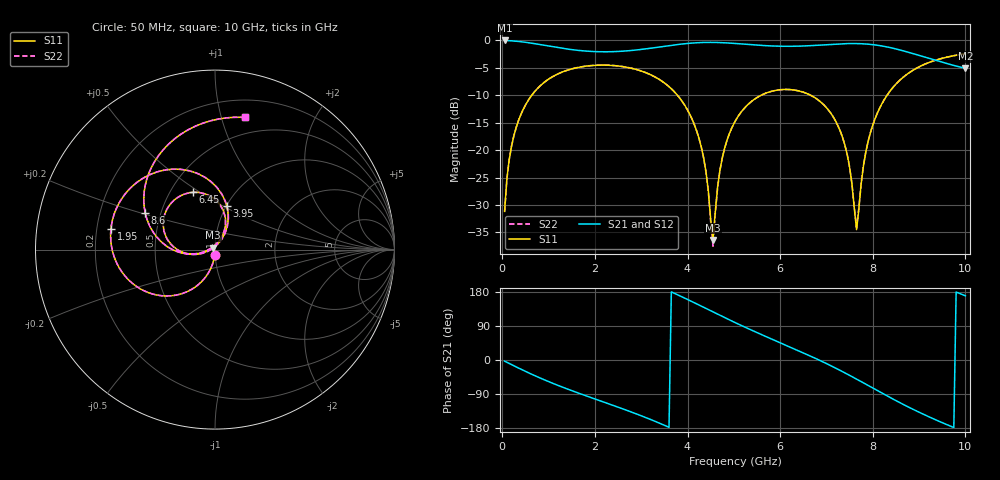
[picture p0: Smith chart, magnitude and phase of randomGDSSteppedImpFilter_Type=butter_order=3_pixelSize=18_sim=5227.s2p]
! freq	dB(S11)	phase(S11)	dB(S12)	phase(S12)
!  dB(S21)	phase(S21)	dB(S22)	phase(S22)
!S-par simulation data
#  GHz  S  DB  R 50
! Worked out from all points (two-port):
!   200 points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, 50 MHz to 10 GHz, reference 50 ohm
!   highest |S21| = -0.01 dB at 50 MHz (marker M1); lowest = -5.1 dB at 10 GHz (marker M2)
!   |S21| within 3 dB of the highest: start of sweep to 9.107 GHz
!   lowest |S11| = -36.4 dB at 4.55 GHz (marker M3), VSWR 1.03, Z = 48.9 + j1.01 ohm
!   |S11| at or under -10 dB: start of sweep to 636.3 MHz; 3.782 GHz to 5.588 GHz (1.806 GHz wide, 38.6 % of centre); 6.659 GHz to 8.309 GHz (1.65 GHz wide, 22 % of centre)
!   |S22| runs from -37.5 to -2.4 dB; largest |S21 - S12| = 0
!   S11 on the Smith chart (normalised r, x): 50 MHz: 1.00, -0.06; 1.95 GHz: 0.26, +0.09; 3.95 GHz: 1.00, +0.52; 6.45 GHz: 0.65, +0.47; 8.6 GHz: 0.41, +0.21; 10 GHz: 0.35, +1.19
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0.05  -31.17 -93.2  -0.01 -3.1  -0.01 -3.1  -31.17 -93.2
0.2  -19.26 -102.7  -0.07 -12.3  -0.07 -12.3  -19.26 -102.8
0.5  -11.79 -120.5  -0.34 -30.0  -0.34 -30.0  -11.79 -120.5
1.75  -4.76 177.6  -1.90 -92.0  -1.90 -92.0  -4.76 177.5
1.95  -4.57 168.9  -2.02 -100.7  -2.02 -100.7  -4.57 168.9
3.4  -7.17 103.7  -1.19 -167.0  -1.19 -167.0  -7.17 103.5
3.95  -11.97 75.1  -0.59 162.7  -0.59 162.7  -11.97 74.7
4.35  -21.51 58.1  -0.37 139.0  -0.37 139.0  -21.54 56.8
4.55  -36.37 137.2  -0.36 126.9  -0.36 126.9  -37.51 138.6
4.7  -23.65 -164.8  -0.39 117.9  -0.39 117.9  -23.70 -163.0
5.05  -14.42 -176.8  -0.57 97.4  -0.57 97.4  -14.43 -176.2
5.7  -9.58 149.7  -0.96 61.5  -0.96 61.5  -9.59 150.1
6.45  -9.31 111.3  -1.03 21.6  -1.03 21.6  -9.31 111.6
6.7  -10.19 98.2  -0.94 7.9  -0.94 7.9  -10.19 98.5
7.35  -17.75 64.6  -0.61 -30.9  -0.61 -30.9  -17.75 65.2
7.5  -23.12 62.0  -0.57 -40.5  -0.57 -40.5  -23.10 63.0
7.65  -34.50 125.6  -0.58 -50.4  -0.58 -50.4  -34.06 126.0
7.9  -18.39 -168.2  -0.68 -67.2  -0.68 -67.2  -18.37 -168.5
8.35  -9.50 167.4  -1.26 -97.4  -1.26 -97.4  -9.49 167.3
8.6  -7.13 152.1  -1.77 -113.6  -1.77 -113.6  -7.13 152.1
9.2  -4.07 117.5  -3.24 -149.2  -3.24 -149.2  -4.07 117.6
10  -2.44 77.1  -5.08 169.4  -5.08 169.4  -2.44 77.1
